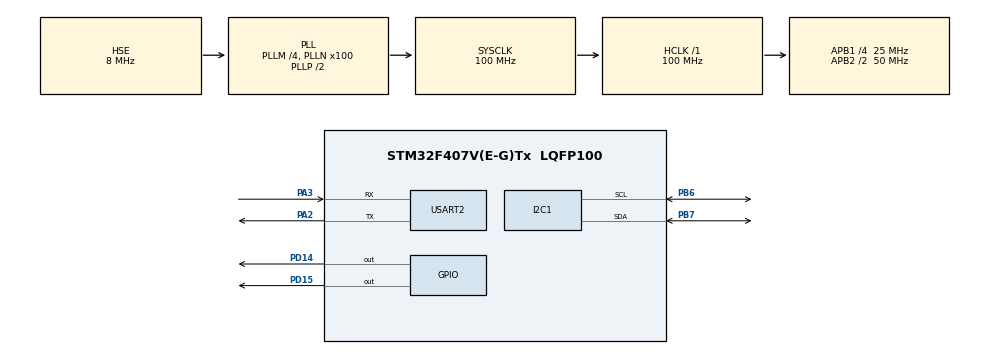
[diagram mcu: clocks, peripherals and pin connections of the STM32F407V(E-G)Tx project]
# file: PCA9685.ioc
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Mcu.Family=STM32F4
Mcu.Name=STM32F407V(E-G)Tx
Mcu.Package=LQFP100
NVIC.PriorityGroup=NVIC_PRIORITYGROUP_0
PA2.Mode=Asynchronous
PA2.Signal=USART2_TX
PA3.Mode=Asynchronous
PA3.Signal=USART2_RX
PB6.Mode=I2C
PB6.Signal=I2C1_SCL
PB7.Mode=I2C
PB7.Signal=I2C1_SDA
PD14.Signal=GPIO_Output
PD15.Signal=GPIO_Output
PH0-OSC_IN.Mode=HSE-External-Oscillator
PH0-OSC_IN.Signal=RCC_OSC_IN
PH1-OSC_OUT.Mode=HSE-External-Oscillator
PH1-OSC_OUT.Signal=RCC_OSC_OUT
ProjectManager.HeapSize=0x200
ProjectManager.StackSize=0x400
ProjectManager.TargetToolchain=STM32CubeIDE
RCC.48MHZClocksFreq_Value=28571428.57142857
RCC.AHBFreq_Value=100000000
RCC.APB1CLKDivider=RCC_HCLK_DIV4
RCC.APB1Freq_Value=25000000
RCC.APB1TimFreq_Value=50000000
RCC.APB2CLKDivider=RCC_HCLK_DIV2
RCC.APB2Freq_Value=50000000
RCC.APB2TimFreq_Value=100000000
RCC.CortexFreq_Value=100000000
RCC.HCLKFreq_Value=100000000
RCC.HSE_VALUE=8000000
RCC.HSI_VALUE=16000000
RCC.LSE_VALUE=32768
RCC.PLLM=4
RCC.PLLN=100
RCC.PLLQ=7
RCC.PLLSourceVirtual=RCC_PLLSOURCE_HSE
RCC.SYSCLKFreq_VALUE=100000000
RCC.SYSCLKSource=RCC_SYSCLKSOURCE_PLLCLK
RCC.VCOOutputFreq_Value=200000000
TIM1.Period=65535-1
TIM1.Prescaler=1-1
USART2.VirtualMode=VM_ASYNC
VP_TIM1_VS_ClockSourceINT.Mode=Internal
board=STM32F407G-DISC1

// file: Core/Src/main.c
/* USER CODE BEGIN Header */
/**
  ******************************************************************************
  * @file           : main.c
  * @brief          : Main program body
  ******************************************************************************
  * @attention
  *
  * Copyright (c) 2024 STMicroelectronics.
  * All rights reserved.
  *
  * This software is licensed under terms that can be found in the LICENSE file
  * in the root directory of this software component.
  * If no LICENSE file comes with this software, it is provided AS-IS.
  *
  ******************************************************************************
  */
/* USER CODE END Header */
#include "main.h"

/* USER CODE BEGIN Includes */
#include "PCA9685.h"
#include <stdio.h>

/* USER CODE END Includes */

I2C_HandleTypeDef hi2c1;

TIM_HandleTypeDef htim1;

UART_HandleTypeDef huart2;

void SystemClock_Config(void);
static void MX_GPIO_Init(void);
static void MX_USART2_UART_Init(void);
void MX_I2C1_Init(void);
static void MX_TIM1_Init(void);
/* USER CODE BEGIN PFP */
#define PUTCHAR_PROTOTYPE int __io_putchar(int ch)

/* USER CODE END PFP */

/* USER CODE BEGIN 0 */

void delay (uint16_t delay)
{
	__HAL_TIM_SET_COUNTER(&htim1,0);  // set the counter value a 0
	while (__HAL_TIM_GET_COUNTER(&htim1) < delay);  // wait for the counter to reach the delay input in the parameter
}

/* USER CODE END 0 */

int main(void)
{

  /* MCU Configuration--------------------------------------------------------*/

  /* Reset of all peripherals, Initializes the Flash interface and the Systick. */
  HAL_Init();

  /* Configure the system clock */
  SystemClock_Config();

  /* Initialize all configured peripherals */
  MX_GPIO_Init();
  MX_USART2_UART_Init();
  MX_I2C1_Init();
  MX_TIM1_Init();
  /* USER CODE BEGIN 2 */

  HAL_TIM_Base_Start(&htim1);
  resetDevices();
  init_1(PCA9685_OutputDriverMode_TotemPole, PCA9685_OutputEnabledMode_Normal, PCA9685_OutputDisabledMode_Low, PCA9685_ChannelUpdateMode_AfterStop, PCA9685_PhaseBalancer_None);
  setPWMFrequency(100);
  setChannelPWM(0,128<<4);
  printf("%d\n",getChannelPWM(0));

  /* USER CODE END 2 */

  /* Infinite loop */
  while (1)
  {

    /* USER CODE BEGIN 3 */
	  HAL_GPIO_TogglePin(GPIOD, GPIO_PIN_14);
	  	 delay(10000);//100 us delay
	  	HAL_GPIO_TogglePin(GPIOD, GPIO_PIN_15);
	  	delay(10000);//100 us delay
  }
  /* USER CODE END 3 */
}

void SystemClock_Config(void)
{
  RCC_OscInitTypeDef RCC_OscInitStruct = {0};
  RCC_ClkInitTypeDef RCC_ClkInitStruct = {0};

  /** Configure the main internal regulator output voltage
  */
  __HAL_RCC_PWR_CLK_ENABLE();
  __HAL_PWR_VOLTAGESCALING_CONFIG(PWR_REGULATOR_VOLTAGE_SCALE1);

  /** Initializes the RCC Oscillators according to the specified parameters
  * in the RCC_OscInitTypeDef structure.
  */
  RCC_OscInitStruct.OscillatorType = RCC_OSCILLATORTYPE_HSE;
  RCC_OscInitStruct.HSEState = RCC_HSE_ON;
  RCC_OscInitStruct.PLL.PLLState = RCC_PLL_ON;
  RCC_OscInitStruct.PLL.PLLSource = RCC_PLLSOURCE_HSE;
  RCC_OscInitStruct.PLL.PLLM = 4;
  RCC_OscInitStruct.PLL.PLLN = 100;
  RCC_OscInitStruct.PLL.PLLP = RCC_PLLP_DIV2;
  RCC_OscInitStruct.PLL.PLLQ = 7;
  if (HAL_RCC_OscConfig(&RCC_OscInitStruct) != HAL_OK)
  {
    Error_Handler();
  }

  /** Initializes the CPU, AHB and APB buses clocks
  */
  RCC_ClkInitStruct.ClockType = RCC_CLOCKTYPE_HCLK|RCC_CLOCKTYPE_SYSCLK
                              |RCC_CLOCKTYPE_PCLK1|RCC_CLOCKTYPE_PCLK2;
  RCC_ClkInitStruct.SYSCLKSource = RCC_SYSCLKSOURCE_PLLCLK;
  RCC_ClkInitStruct.AHBCLKDivider = RCC_SYSCLK_DIV1;
  RCC_ClkInitStruct.APB1CLKDivider = RCC_HCLK_DIV4;
  RCC_ClkInitStruct.APB2CLKDivider = RCC_HCLK_DIV2;

  if (HAL_RCC_ClockConfig(&RCC_ClkInitStruct, FLASH_LATENCY_3) != HAL_OK)
  {
    Error_Handler();
  }
}

 void MX_I2C1_Init(void)
{

  hi2c1.Instance = I2C1;
  hi2c1.Init.ClockSpeed = 100000;
  hi2c1.Init.DutyCycle = I2C_DUTYCYCLE_2;
  hi2c1.Init.OwnAddress1 = 0;
  hi2c1.Init.AddressingMode = I2C_ADDRESSINGMODE_7BIT;
  hi2c1.Init.DualAddressMode = I2C_DUALADDRESS_DISABLE;
  hi2c1.Init.OwnAddress2 = 0;
  hi2c1.Init.GeneralCallMode = I2C_GENERALCALL_DISABLE;
  hi2c1.Init.NoStretchMode = I2C_NOSTRETCH_DISABLE;
  if (HAL_I2C_Init(&hi2c1) != HAL_OK)
  {
    Error_Handler();
  }

}

static void MX_TIM1_Init(void)
{

  TIM_ClockConfigTypeDef sClockSourceConfig = {0};
  TIM_MasterConfigTypeDef sMasterConfig = {0};

  htim1.Instance = TIM1;
  htim1.Init.Prescaler = 1-1;
  htim1.Init.CounterMode = TIM_COUNTERMODE_UP;
  htim1.Init.Period = 65535-1;
  htim1.Init.ClockDivision = TIM_CLOCKDIVISION_DIV1;
  htim1.Init.RepetitionCounter = 0;
  htim1.Init.AutoReloadPreload = TIM_AUTORELOAD_PRELOAD_DISABLE;
  if (HAL_TIM_Base_Init(&htim1) != HAL_OK)
  {
    Error_Handler();
  }
  sClockSourceConfig.ClockSource = TIM_CLOCKSOURCE_INTERNAL;
  if (HAL_TIM_ConfigClockSource(&htim1, &sClockSourceConfig) != HAL_OK)
  {
    Error_Handler();
  }
  sMasterConfig.MasterOutputTrigger = TIM_TRGO_RESET;
  sMasterConfig.MasterSlaveMode = TIM_MASTERSLAVEMODE_DISABLE;
  if (HAL_TIMEx_MasterConfigSynchronization(&htim1, &sMasterConfig) != HAL_OK)
  {
    Error_Handler();
  }

}

static void MX_USART2_UART_Init(void)
{

  huart2.Instance = USART2;
  huart2.Init.BaudRate = 115200;
  huart2.Init.WordLength = UART_WORDLENGTH_8B;
  huart2.Init.StopBits = UART_STOPBITS_1;
  huart2.Init.Parity = UART_PARITY_NONE;
  huart2.Init.Mode = UART_MODE_TX_RX;
  huart2.Init.HwFlowCtl = UART_HWCONTROL_NONE;
  huart2.Init.OverSampling = UART_OVERSAMPLING_16;
  if (HAL_UART_Init(&huart2) != HAL_OK)
  {
    Error_Handler();
  }

}

static void MX_GPIO_Init(void)
{
  GPIO_InitTypeDef GPIO_InitStruct = {0};

  /* GPIO Ports Clock Enable */
  __HAL_RCC_GPIOH_CLK_ENABLE();
  __HAL_RCC_GPIOA_CLK_ENABLE();
  __HAL_RCC_GPIOD_CLK_ENABLE();
  __HAL_RCC_GPIOB_CLK_ENABLE();

  /*Configure GPIO pin Output Level */
  HAL_GPIO_WritePin(GPIOD, GPIO_PIN_14|GPIO_PIN_15, GPIO_PIN_RESET);

  /*Configure GPIO pins : PD14 PD15 */
  GPIO_InitStruct.Pin = GPIO_PIN_14|GPIO_PIN_15;
  GPIO_InitStruct.Mode = GPIO_MODE_OUTPUT_PP;
  GPIO_InitStruct.Pull = GPIO_NOPULL;
  GPIO_InitStruct.Speed = GPIO_SPEED_FREQ_LOW;
  HAL_GPIO_Init(GPIOD, &GPIO_InitStruct);

}

/* USER CODE BEGIN 4 */

PUTCHAR_PROTOTYPE
{
  /* Place your implementation of fputc here */
  /* e.g. write a character to the USART1 and Loop until the end of transmission */
  HAL_UART_Transmit(&huart2, (uint8_t *)&ch, 1, 0xFFFF);

  return ch;
}

/* USER CODE END 4 */

void Error_Handler(void)
{
  __disable_irq();
  while (1)
  {
  }
}
